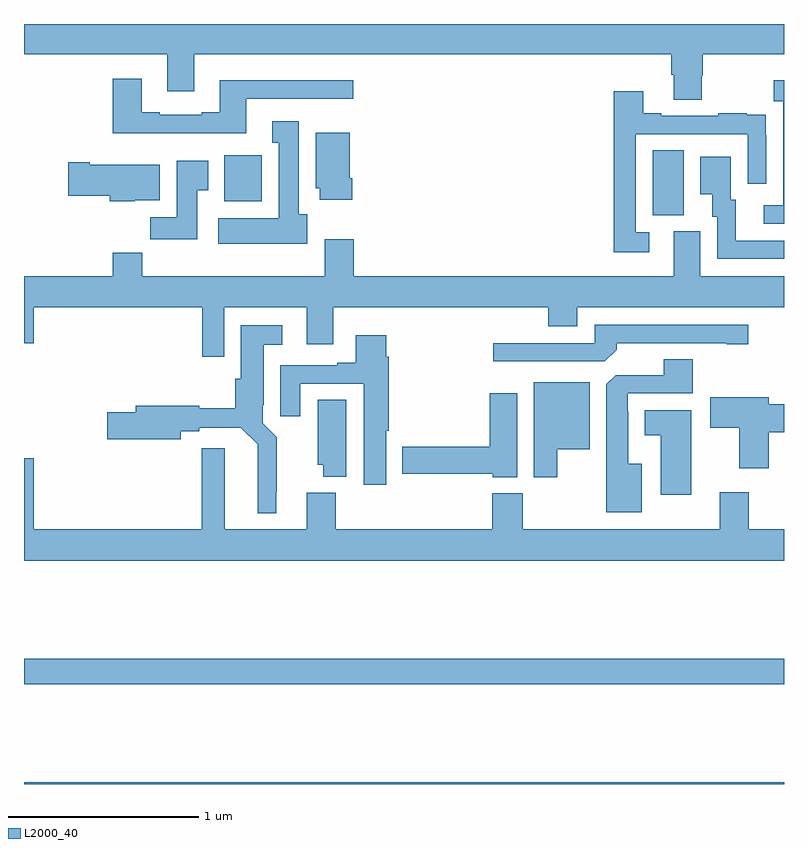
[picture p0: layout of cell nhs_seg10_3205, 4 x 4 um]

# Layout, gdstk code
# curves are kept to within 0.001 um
import gdstk
lib = gdstk.Library(unit=1e-6, precision=1e-09)
def R(c, l, rs):  # rectangles x0, y0, x1, y1
    for r in rs: c.add(gdstk.rectangle(r[:2], r[2:], *l))
def P(c, l, *ps):  # polygons
    for p in ps: c.add(gdstk.Polygon(p, *l))
L2000_40 = (2000, 40)

nhs_seg10_3205 = lib.new_cell('nhs_seg10_3205')
R(nhs_seg10_3205, L2000_40, [(285,1272.5,289,1272.508), (285,1273.024,289,1273.16), (288.308,1275.493,288.472,1275.836), (286.055,1275.566,286.252,1275.808)])
P(nhs_seg10_3205, L2000_40, [(288.567,1276.227),(288.572,1276.227),(288.572,1276.34),(289,1276.34),(289,1276.5),(285,1276.5),(285,1276.34),(285.755,1276.34),(285.755,1276.146),(285.895,1276.146),(285.895,1276.34),(288.407,1276.34),(288.407,1276.234),(288.419,1276.234),(288.419,1276.102),(288.567,1276.102)],
  [(286.171,1276.107),(286.732,1276.107),(286.732,1276.204),(286.031,1276.204),(286.031,1276.036),(285.935,1276.036),(285.935,1276.023),(285.715,1276.023),(285.715,1276.036),(285.619,1276.036),(285.619,1276.213),(285.467,1276.213),(285.467,1275.926),(286.171,1275.926)],
  [(289,1276.204),(288.945,1276.204),(288.945,1276.094),(288.996,1276.094),(288.996,1275.546),(288.894,1275.546),(288.894,1275.45),(289,1275.45)],
  [(288.292,1275.405),(288.219,1275.405),(288.219,1275.921),(288.81,1275.921),(288.81,1275.66),(288.906,1275.66),(288.906,1275.914),(288.905,1275.914),(288.905,1276.023),(288.803,1276.023),(288.803,1276.03),(288.655,1276.03),(288.655,1276.017),(288.355,1276.017),(288.355,1276.03),(288.259,1276.03),(288.259,1276.147),(288.103,1276.147),(288.103,1275.3),(288.292,1275.3)],
  [(286.492,1275.498),(286.447,1275.498),(286.447,1275.988),(286.307,1275.988),(286.307,1275.875),(286.34,1275.875),(286.34,1275.478),(286.023,1275.478),(286.023,1275.344),(286.492,1275.344)],
  [(286.727,1275.688),(286.714,1275.688),(286.714,1275.928),(286.535,1275.928),(286.535,1275.636),(286.556,1275.636),(286.556,1275.576),(286.727,1275.576)],
  [(289,1275.36),(288.745,1275.36),(288.745,1275.576),(288.721,1275.576),(288.721,1275.802),(288.56,1275.802),(288.56,1275.605),(288.623,1275.605),(288.623,1275.486),(288.648,1275.486),(288.648,1275.264),(289,1275.264)],
  [(285.913,1275.625),(285.97,1275.625),(285.97,1275.781),(285.803,1275.781),(285.803,1275.484),(285.664,1275.484),(285.664,1275.366),(285.913,1275.366)],
  [(285.582,1275.572),(285.715,1275.572),(285.715,1275.76),(285.346,1275.76),(285.346,1275.773),(285.234,1275.773),(285.234,1275.595),(285.452,1275.595),(285.452,1275.566),(285.582,1275.566)],
  [(286.053,1275.008),(286.487,1275.008),(286.487,1274.814),(286.627,1274.814),(286.627,1275.008),(287.759,1275.008),(287.759,1274.909),(287.911,1274.909),(287.911,1275.008),(289,1275.008),(289,1275.172),(288.559,1275.172),(288.559,1275.408),(288.419,1275.408),(288.419,1275.172),(286.736,1275.172),(286.736,1275.367),(286.583,1275.367),(286.583,1275.172),(285.623,1275.172),(285.623,1275.296),(285.467,1275.296),(285.467,1275.172),(285,1275.172),(285,1274.82),(285.052,1274.82),(285.052,1275.008),(285.937,1275.008),(285.937,1274.748),(286.053,1274.748)],
  [(288.119,1274.786),(288.119,1274.82),(288.698,1274.82),(288.698,1274.815),(288.811,1274.815),(288.811,1274.916),(288.003,1274.916),(288.003,1274.82),(287.469,1274.82),(287.469,1274.724),(288.057,1274.724)],
  [(286.327,1274.035),(286.331,1274.035),(286.331,1274.326),(286.257,1274.4),(286.257,1274.494),(286.261,1274.494),(286.261,1274.813),(286.36,1274.813),(286.36,1274.914),(286.142,1274.914),(286.142,1274.634),(286.112,1274.634),(286.112,1274.477),(285.922,1274.477),(285.922,1274.492),(285.587,1274.492),(285.587,1274.456),(285.438,1274.456),(285.438,1274.314),(285.826,1274.314),(285.826,1274.356),(285.922,1274.356),(285.922,1274.376),(286.142,1274.376),(286.23,1274.288),(286.229,1273.925),(286.327,1273.925)],
  [(286.906,1274.359),(286.919,1274.359),(286.919,1274.75),(286.906,1274.75),(286.906,1274.863),(286.745,1274.863),(286.745,1274.716),(286.649,1274.716),(286.649,1274.703),(286.349,1274.703),(286.349,1274.436),(286.453,1274.436),(286.453,1274.607),(286.787,1274.607),(286.787,1274.076),(286.906,1274.076)],
  [(288.25,1274.185),(288.181,1274.185),(288.181,1274.459),(288.177,1274.459),(288.177,1274.556),(288.521,1274.556),(288.521,1274.735),(288.368,1274.735),(288.368,1274.652),(288.114,1274.652),(288.065,1274.603),(288.065,1273.931),(288.25,1273.931)],
  [(287.806,1274.261),(287.977,1274.261),(287.977,1274.614),(287.684,1274.614),(287.684,1274.115),(287.806,1274.115)],
  [(287.596,1274.557),(287.45,1274.557),(287.45,1274.276),(286.992,1274.276),(286.992,1274.134),(287.466,1274.134),(287.466,1274.114),(287.596,1274.114)],
  [(288.919,1274.351),(289,1274.351),(289,1274.498),(288.919,1274.498),(288.919,1274.536),(288.612,1274.536),(288.612,1274.374),(288.764,1274.374),(288.764,1274.163),(288.919,1274.163)],
  [(286.696,1274.522),(286.547,1274.522),(286.547,1274.181),(286.574,1274.181),(286.574,1274.117),(286.696,1274.117)],
  [(288.511,1274.467),(288.266,1274.467),(288.266,1274.336),(288.35,1274.336),(288.35,1274.022),(288.511,1274.022)],
  [(289,1273.84),(288.815,1273.84),(288.815,1274.035),(288.662,1274.035),(288.662,1273.84),(287.625,1273.84),(287.625,1274.029),(287.465,1274.029),(287.465,1273.84),(286.64,1273.84),(286.64,1274.032),(286.487,1274.032),(286.487,1273.84),(286.057,1273.84),(286.057,1274.266),(285.935,1274.266),(285.935,1273.84),(285.052,1273.84),(285.052,1274.215),(285,1274.215),(285,1273.676),(289,1273.676)])

lib.write_gds('nhs_seg10_3205.gds')
